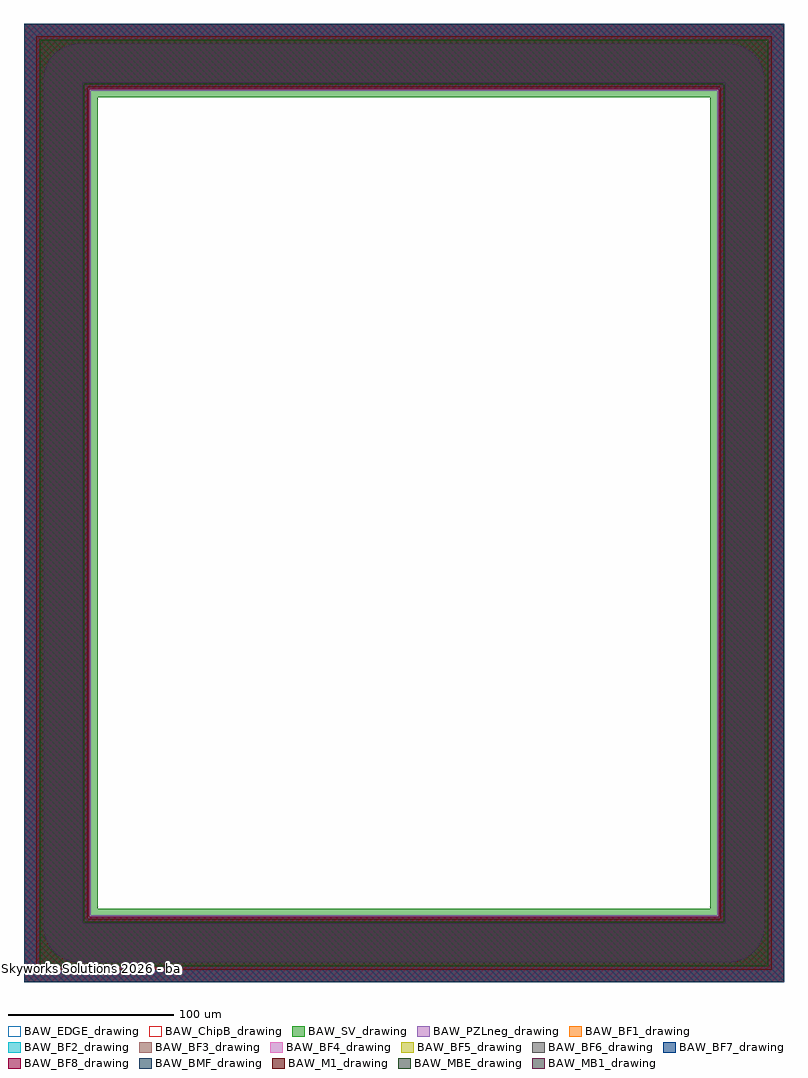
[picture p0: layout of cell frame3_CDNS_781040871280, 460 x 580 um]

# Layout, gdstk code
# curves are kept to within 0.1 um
import gdstk
lib = gdstk.Library(unit=1e-6, precision=1e-09)
def R(c, l, rs):  # rectangles x0, y0, x1, y1
    for r in rs: c.add(gdstk.rectangle(r[:2], r[2:], *l))
def P(c, l, *ps):  # polygons
    for p in ps: c.add(gdstk.Polygon(p, *l))
BAW_MBE_drawing = (2, 0)
BAW_SV_drawing = (7, 0)
BAW_M1_drawing = (8, 0)
BAW_EDGE_drawing = (9, 0)
BAW_MB1_drawing = (10, 0)
BAW_ChipB_drawing = (20, 0)
BAW_BMF_drawing = (55, 0)
BAW_BF1_drawing = (140, 0)
BAW_BF2_drawing = (141, 0)
BAW_BF3_drawing = (142, 0)
BAW_BF4_drawing = (143, 0)
BAW_BF5_drawing = (144, 0)
BAW_BF6_drawing = (145, 0)
BAW_BF7_drawing = (146, 0)
BAW_BF8_drawing = (147, 0)
BAW_PZLneg_drawing = (264, 0)

frame3_cdns_781040871280 = lib.new_cell('frame3_CDNS_781040871280')
P(frame3_cdns_781040871280, BAW_MBE_drawing, [(9.5,9.5),(9.5,570.5),(450.5,570.5),(450.5,9.5),(36.5,9.5),(36.5,36.5),(423.5,36.5),(423.5,543.5),(36.5,543.5),(36.5,9.5)])
P(frame3_cdns_781040871280, BAW_SV_drawing, [(0,0),(0,580),(460,580),(460,0),(44.5,0),(44.5,44.5),(415.5,44.5),(415.5,535.5),(44.5,535.5),(44.5,0)])
P(frame3_cdns_781040871280, BAW_M1_drawing, [(7.5,7.5),(7.5,572.5),(452.5,572.5),(452.5,7.5),(38.5,7.5),(38.5,38.5),(421.5,38.5),(421.5,541.5),(38.5,541.5),(38.5,7.5)])
R(frame3_cdns_781040871280, BAW_EDGE_drawing, [(0,0,460,580)])
P(frame3_cdns_781040871280, BAW_MB1_drawing, [(448,33.5),(447.897,31.393),(447.587,29.306),(447.074,27.259),(446.363,25.272),(445.461,23.365),(444.377,21.555),(442.43,19.062),(440.939,17.57),(439.308,16.231),(437.553,15.059),(435.692,14.064),(433.743,13.257),(431.724,12.644),(428.607,12.104),(426.5,12),(230,12),(230,35.5),(424.5,35.5),(424.5,544.5),(230,544.5),(230,568),(427.555,567.974),(430.694,567.587),(432.741,567.074),(435.692,565.936),(438.445,564.377),(440.939,562.43),(443.12,560.14),(444.941,557.553),(446.363,554.728),(447.074,552.741),(447.587,550.694),(447.897,548.607),(448,546.5)],
  [(33.5,12),(31.393,12.104),(29.306,12.413),(27.259,12.926),(25.272,13.637),(23.365,14.539),(21.555,15.623),(19.861,16.88),(18.297,18.297),(16.88,19.861),(15.623,21.555),(14.064,24.308),(13.257,26.257),(12.644,28.276),(12.233,30.345),(12.026,32.445),(12,546.5),(12.104,548.607),(12.413,550.694),(13.257,553.743),(14.539,556.635),(16.231,559.308),(18.297,561.703),(20.693,563.769),(23.365,565.461),(26.257,566.743),(29.306,567.587),(32.445,567.974),(230,568),(230,544.5),(35.5,544.5),(35.5,35.5),(230,35.5),(230,12)])
R(frame3_cdns_781040871280, BAW_ChipB_drawing, [(0,0,460,580)])
P(frame3_cdns_781040871280, BAW_BMF_drawing, [(0,0),(0,580),(460,580),(460,0),(38.5,0),(38.5,38.5),(421.5,38.5),(421.5,541.5),(38.5,541.5),(38.5,0)])
P(frame3_cdns_781040871280, BAW_BF1_drawing, [(0,0),(0,580),(460,580),(460,0),(39.5,0),(39.5,39.5),(420.5,39.5),(420.5,540.5),(39.5,540.5),(39.5,0)])
P(frame3_cdns_781040871280, BAW_BF2_drawing, [(0,0),(0,580),(460,580),(460,0),(39.5,0),(39.5,39.5),(420.5,39.5),(420.5,540.5),(39.5,540.5),(39.5,0)])
P(frame3_cdns_781040871280, BAW_BF3_drawing, [(0,0),(0,580),(460,580),(460,0),(39.5,0),(39.5,39.5),(420.5,39.5),(420.5,540.5),(39.5,540.5),(39.5,0)])
P(frame3_cdns_781040871280, BAW_BF4_drawing, [(0,0),(0,580),(460,580),(460,0),(39.5,0),(39.5,39.5),(420.5,39.5),(420.5,540.5),(39.5,540.5),(39.5,0)])
P(frame3_cdns_781040871280, BAW_BF5_drawing, [(0,0),(0,580),(460,580),(460,0),(39.5,0),(39.5,39.5),(420.5,39.5),(420.5,540.5),(39.5,540.5),(39.5,0)])
P(frame3_cdns_781040871280, BAW_BF6_drawing, [(0,0),(0,580),(460,580),(460,0),(39.5,0),(39.5,39.5),(420.5,39.5),(420.5,540.5),(39.5,540.5),(39.5,0)])
P(frame3_cdns_781040871280, BAW_BF7_drawing, [(0,0),(0,580),(460,580),(460,0),(39.5,0),(39.5,39.5),(420.5,39.5),(420.5,540.5),(39.5,540.5),(39.5,0)])
P(frame3_cdns_781040871280, BAW_BF8_drawing, [(0,0),(0,580),(460,580),(460,0),(39.5,0),(39.5,39.5),(420.5,39.5),(420.5,540.5),(39.5,540.5),(39.5,0)])
P(frame3_cdns_781040871280, BAW_PZLneg_drawing, [(0,0),(0,580),(460,580),(460,0),(40.5,0),(40.5,40.5),(419.5,40.5),(419.5,539.5),(40.5,539.5),(40.5,0)])
frame3_cdns_781040871280.add(gdstk.Label('Skyworks Solutions 2026 - bawpdk4:v0.19', (8,8), layer=8, texttype=0))

lib.write_gds('frame3_CDNS_781040871280.gds')
